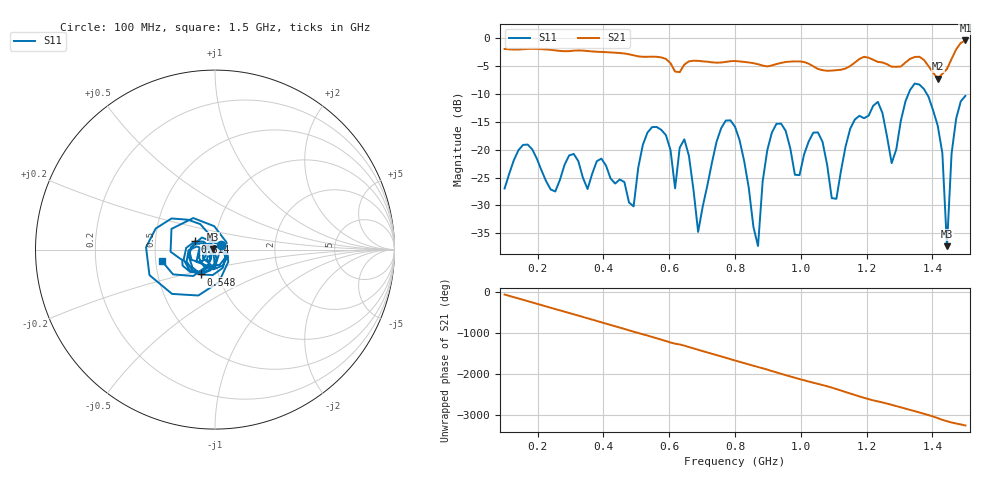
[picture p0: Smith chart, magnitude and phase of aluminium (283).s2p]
! NanoVNA-App
! Date: 2025-09-25 14:57:29
! Start: 100MHz Stop: 1,5GHz Points: 101
! S-Parameter data: F S11 S21 S12 S22
# Hz S RI R 50
!  Frequency  S11_Real  S11_Imag  S21_Real  S21_Imag  S12_Real  S12_Imag  S22_Real  S22_Imag
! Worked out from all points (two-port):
!   101 points, 100 MHz to 1.5 GHz, reference 50 ohm
!   highest |S21| = -0.40 dB at 1.5 GHz (marker M1); lowest = -7.2 dB at 1.416 GHz (marker M2)
!   |S21| within 3 dB of the highest: start of sweep to 570.8 MHz; 1.461 GHz to end of sweep (the widest 2 of 4)
!   lowest |S11| = -37.3 dB at 1.444 GHz (marker M3), VSWR 1.03, Z = 48.7 + j0.322 ohm
!   |S11| at or under -10 dB: start of sweep to 1.327 GHz; 1.383 GHz to end of sweep
!   S12 and S22 are empty: the file has one direction only
!   S11 on the Smith chart (normalised r, x): 100 MHz: 1.07, +0.06; 548 MHz: 0.82, -0.23; 814 MHz: 0.79, +0.07; 1.5 GHz: 0.54, -0.07
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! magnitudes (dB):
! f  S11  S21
! 100 MHz  -27.0  -1.9
! 338 MHz  -25.0  -2.2
! 492 MHz  -30.2  -3.1
! 548 MHz  -16.0  -3.3
! 576 MHz  -16.4  -3.4
! 618 MHz  -26.9  -6.0
! 646 MHz  -18.1  -4.7
! 688 MHz  -34.8  -4.1
! 800 MHz  -15.9  -4.1
! 814 MHz  -18.3  -4.2
! 870 MHz  -37.3  -4.7
! 912 MHz  -16.9  -4.9
! 996 MHz  -24.6  -4.2
! 1.038 GHz  -16.9  -5.0
! 1.094 GHz  -28.7  -5.8
! 1.234 GHz  -11.4  -4.2
! 1.276 GHz  -22.4  -5.1
! 1.346 GHz  -8.1  -3.4
! 1.416 GHz  -15.7  -7.2
! 1.444 GHz  -37.3  -5.5
! 1.458 GHz  -20.7  -3.7
! 1.5 GHz  -10.3  -0.4
